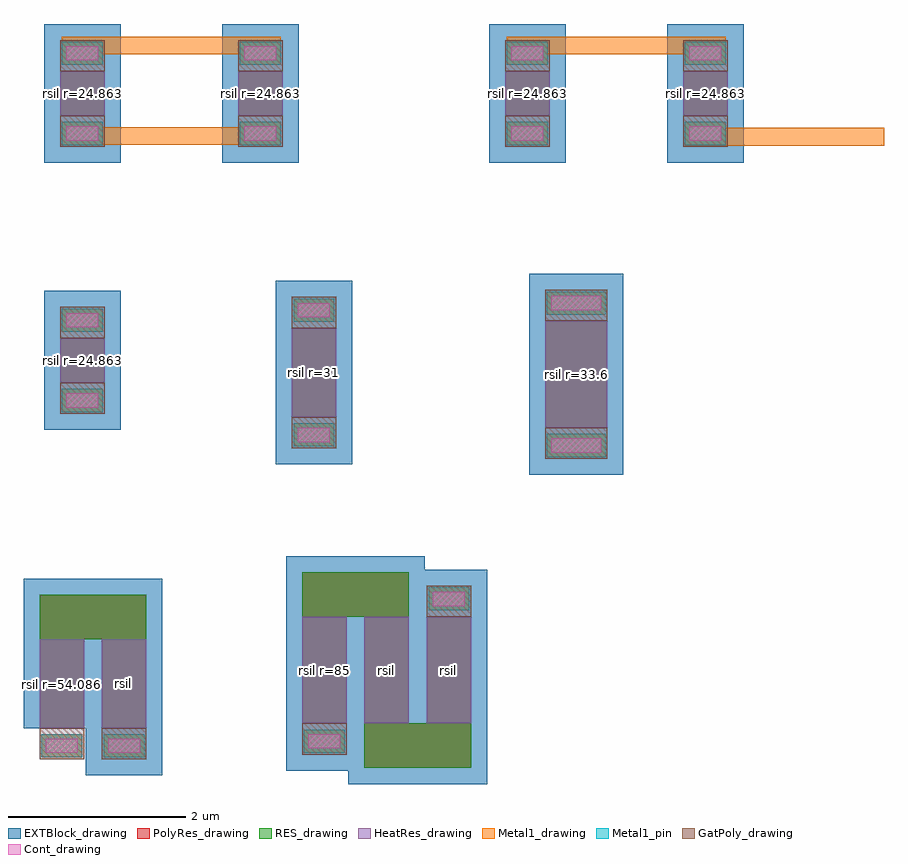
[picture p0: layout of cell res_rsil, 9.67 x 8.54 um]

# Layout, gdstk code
import gdstk
lib = gdstk.Library(unit=1e-6, precision=1e-09)
def R(c, l, rs):  # rectangles x0, y0, x1, y1
    for r in rs: c.add(gdstk.rectangle(r[:2], r[2:], *l))
def A(c, l, x, y, w, h, nx, ny, dx, dy):  # array of equal rectangles
    R(c, l, [(x+i*dx, y+j*dy, x+i*dx+w, y+j*dy+h) for i in range(nx) for j in range(ny)])
GatPoly_drawing = (5, 0)
Cont_drawing = (6, 0)
Metal1_drawing = (8, 0)
Metal1_pin = (8, 2)
RES_drawing = (24, 0)
HeatRes_drawing = (52, 0)
EXTBlock_drawing = (111, 0)
PolyRes_drawing = (128, 0)

res_rsil = lib.new_cell('res_rsil')
R(res_rsil, GatPoly_drawing, [(-0.23,-4.231,0.27,-3.881), (0.47,-4.231,0.97,-3.881), (2.72,-4.18,3.22,-3.83), (4.12,-2.63,4.62,-2.28), (5.45,-0.856,6.15,-0.506), (2.603,-0.737,3.103,-0.387), (0,-0.35,0.5,0), (0,0.5,0.5,0.85), (2.603,0.613,3.103,0.963), (5.45,0.694,6.15,1.044), (0,2.65,0.5,3), (2,2.65,2.5,3), (5,2.65,5.5,3), (7,2.65,7.5,3), (0,3.5,0.5,3.85), (2,3.5,2.5,3.85), (5,3.5,5.5,3.85), (7,3.5,7.5,3.85)])
R(res_rsil, Cont_drawing, [(-0.16,-4.161,0.2,-4.001), (0.54,-4.161,0.9,-4.001), (2.79,-4.11,3.15,-3.95), (4.19,-2.51,4.55,-2.35), (5.52,-0.786,6.08,-0.626), (2.673,-0.667,3.033,-0.507), (0.07,-0.28,0.43,-0.12), (0.07,0.62,0.43,0.78), (2.673,0.733,3.033,0.893), (5.52,0.814,6.08,0.974), (0.07,2.72,0.43,2.88), (2.07,2.72,2.43,2.88), (5.07,2.72,5.43,2.88), (7.07,2.72,7.43,2.88), (0.07,3.62,0.43,3.78), (2.07,3.62,2.43,3.78), (5.07,3.62,5.43,3.78), (7.07,3.62,7.43,3.78)])
R(res_rsil, Metal1_drawing, [(-0.21,-4.211,0.25,-3.951), (0.49,-4.211,0.95,-3.951), (2.74,-4.16,3.2,-3.9), (4.14,-2.56,4.6,-2.3), (5.47,-0.836,6.13,-0.576), (2.623,-0.717,3.083,-0.457), (0.02,-0.33,0.48,-0.07), (0.02,0.57,0.48,0.83), (2.623,0.683,3.083,0.943), (5.47,0.764,6.13,1.024), (0.02,2.67,0.48,2.93), (2.02,2.67,2.48,2.93), (5.02,2.67,5.48,2.93), (7.02,2.67,7.48,2.93), (0.02,3.57,0.48,3.83), (2.02,3.57,2.48,3.83), (5.02,3.57,5.48,3.83), (7.02,3.57,7.48,3.83)])
R(res_rsil, Metal1_pin, [(-0.21,-4.211,0.25,-3.951), (-0.21,-4.211,0.25,-3.951), (0.49,-4.211,0.95,-3.951), (0.49,-4.211,0.95,-3.951), (2.74,-4.16,3.2,-3.9), (2.74,-4.16,3.2,-3.9), (4.14,-2.56,4.6,-2.3), (4.14,-2.56,4.6,-2.3), (5.47,-0.836,6.13,-0.576), (5.47,-0.836,6.13,-0.576), (2.623,-0.717,3.083,-0.457), (2.623,-0.717,3.083,-0.457), (0.02,-0.33,0.48,-0.07), (0.02,0.57,0.48,0.83), (2.623,0.683,3.083,0.943), (2.623,0.683,3.083,0.943), (5.47,0.764,6.13,1.024), (5.47,0.764,6.13,1.024), (0.02,2.67,0.48,2.93), (2.02,2.67,2.48,2.93), (5.02,2.67,5.48,2.93), (7.02,2.67,7.48,2.93), (0.02,3.57,0.48,3.83), (2.02,3.57,2.48,3.83), (5.02,3.57,5.48,3.83), (7.02,3.57,7.48,3.83)])
A(res_rsil, RES_drawing, 2.72, -3.83, 0.5, 1.2, 3, 1, 0.7, 0)
R(res_rsil, RES_drawing, [(3.42,-4.33,4.62,-3.83), (-0.23,-3.881,0.27,-2.881), (0.47,-3.881,0.97,-2.881), (-0.23,-2.881,0.97,-2.381), (2.72,-2.63,3.92,-2.13), (5.45,-0.506,6.15,0.694), (2.603,-0.387,3.103,0.613), (0,0,0.5,0.5), (0,3,0.5,3.5), (2,3,2.5,3.5), (5,3,5.5,3.5), (7,3,7.5,3.5)])
A(res_rsil, HeatRes_drawing, 2.72, -3.83, 0.5, 1.2, 3, 1, 0.7, 0)
R(res_rsil, HeatRes_drawing, [(-0.23,-3.881,0.27,-2.881), (0.47,-3.881,0.97,-2.881), (5.45,-0.506,6.15,0.694), (2.603,-0.387,3.103,0.613), (0,0,0.5,0.5), (0,3,0.5,3.5), (2,3,2.5,3.5), (5,3,5.5,3.5), (7,3,7.5,3.5)])
A(res_rsil, EXTBlock_drawing, 2.54, -3.83, 0.86, 1.2, 3, 1, 0.7, 0)
R(res_rsil, EXTBlock_drawing, [(3.24,-4.51,4.8,-3.65), (0.29,-4.411,1.15,-2.881), (2.54,-4.36,3.4,-3.83), (-0.41,-3.881,0.45,-2.881), (0.29,-3.881,1.15,-2.881), (3.94,-3.83,4.8,-2.1), (-0.41,-3.061,1.15,-2.201), (2.54,-2.81,4.1,-1.95), (5.27,-1.036,6.33,-0.506), (2.423,-0.917,3.283,-0.387), (-0.18,-0.53,0.68,0), (5.27,-0.506,6.33,0.694), (5.27,-0.506,6.33,1.224), (2.423,-0.387,3.283,0.613), (2.423,-0.387,3.283,1.143), (-0.18,0,0.68,1.03), (-0.18,0,0.68,0.5), (-0.18,2.47,0.68,3), (1.82,2.47,2.68,3), (4.82,2.47,5.68,3), (6.82,2.47,7.68,3), (-0.18,3,0.68,4.03), (-0.18,3,0.68,3.5), (1.82,3,2.68,4.03), (1.82,3,2.68,3.5), (4.82,3,5.68,4.03), (4.82,3,5.68,3.5), (6.82,3,7.68,4.03), (6.82,3,7.68,3.5)])
A(res_rsil, PolyRes_drawing, 2.72, -3.83, 0.5, 1.2, 3, 1, 0.7, 0)
R(res_rsil, PolyRes_drawing, [(3.42,-4.33,4.62,-3.83), (-0.23,-3.881,0.27,-2.881), (0.47,-3.881,0.97,-2.881), (-0.23,-2.881,0.97,-2.381), (2.72,-2.63,3.92,-2.13), (5.45,-0.506,6.15,0.694), (2.603,-0.387,3.103,0.613), (0,0,0.5,0.5), (0,3,0.5,3.5), (2,3,2.5,3.5), (5,3,5.5,3.5), (7,3,7.5,3.5)])
res_rsil.add(gdstk.FlexPath([(0.02,3.789),(2.48,3.789)], 0.2, ends="flush", simple_path=True, layer=8, datatype=0))  # Metal1_drawing
res_rsil.add(gdstk.FlexPath([(2.48,2.772),(0.02,2.772)], 0.2, ends="flush", simple_path=True, layer=8, datatype=0))  # Metal1_drawing
res_rsil.add(gdstk.FlexPath([(5.02,3.789),(7.48,3.789)], 0.2, ends="flush", simple_path=True, layer=8, datatype=0))  # Metal1_drawing
res_rsil.add(gdstk.FlexPath([(7.02,2.763),(9.263,2.763)], 0.2, ends="flush", simple_path=True, layer=8, datatype=0))  # Metal1_drawing
res_rsil.add(gdstk.Label('rsil r=24.863', (0.25,3.25), layer=63, texttype=0))
res_rsil.add(gdstk.Label('rsil r=24.863', (2.25,3.25), layer=63, texttype=0))
res_rsil.add(gdstk.Label('rsil r=24.863', (5.25,3.25), layer=63, texttype=0))
res_rsil.add(gdstk.Label('rsil r=24.863', (7.25,3.25), layer=63, texttype=0))
res_rsil.add(gdstk.Label('rsil r=54.086', (0.02,-3.39), layer=63, texttype=0))
res_rsil.add(gdstk.Label('rsil r=33.6', (5.8,0.09), layer=63, texttype=0))
res_rsil.add(gdstk.Label('rsil r=31', (2.85,0.11), layer=63, texttype=0))
res_rsil.add(gdstk.Label('rsil r=85', (2.97,-3.23), layer=63, texttype=0))
res_rsil.add(gdstk.Label('rsil r=24.863', (0.25,0.25), layer=63, texttype=0))
res_rsil.add(gdstk.Label('rsil', (0.25,3.25), layer=52, texttype=0))
res_rsil.add(gdstk.Label('rsil', (2.25,3.25), layer=52, texttype=0))
res_rsil.add(gdstk.Label('rsil', (5.25,3.25), layer=52, texttype=0))
res_rsil.add(gdstk.Label('rsil', (7.25,3.25), layer=52, texttype=0))
res_rsil.add(gdstk.Label('rsil', (2.85,0.11), layer=52, texttype=0))
res_rsil.add(gdstk.Label('rsil', (5.8,0.09), layer=52, texttype=0))
res_rsil.add(gdstk.Label('rsil', (2.97,-3.23), layer=52, texttype=0))
res_rsil.add(gdstk.Label('rsil', (3.67,-3.23), layer=52, texttype=0))
res_rsil.add(gdstk.Label('rsil', (4.37,-3.23), layer=52, texttype=0))
res_rsil.add(gdstk.Label('rsil', (0.25,0.25), layer=52, texttype=0))
res_rsil.add(gdstk.Label('rsil', (0.717,-3.385), layer=52, texttype=0))
res_rsil.add(gdstk.Label('rsil', (0.017,-3.385), layer=52, texttype=0))

lib.write_gds('res_rsil.gds')
